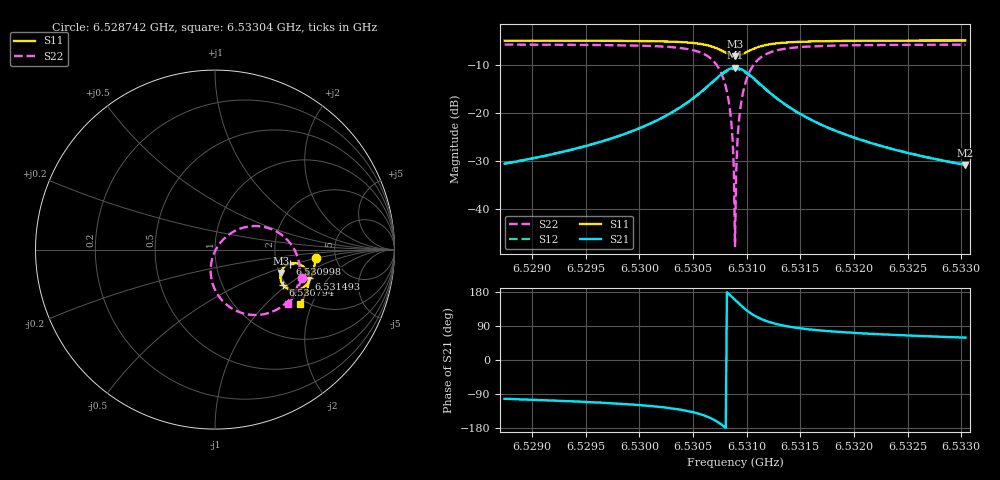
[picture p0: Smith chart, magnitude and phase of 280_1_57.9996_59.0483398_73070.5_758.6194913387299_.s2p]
#  HZ  S  RI  R  50.00
! Rohde & Schwarz Vector Network Analyzer
! Rohde-Schwarz,ZNB20-2Port,1311601062101988,3.16
! Created: UTC 3/21/2024, 1:02:50 AM
! freq[Hz]  re:S11  im:S11  re:S21  im:S21  re:S12  im:S12  re:S22  im:S22
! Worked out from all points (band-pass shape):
!   401 points, 6.528742 GHz to 6.53304 GHz, reference 50 ohm
!   highest |S21| = -10.64 dB at 6.530891 GHz (marker M1); lowest = -30.8 dB at 6.53304 GHz (marker M2)
!   |S21| within 3 dB of the highest: 6.530676 GHz to 6.531106 GHz (430.1 kHz wide, 0.00659 % of centre)
!   lowest |S11| = -8.2 dB at 6.530891 GHz (marker M3), VSWR 2.27, Z = 102 - j31 ohm
!   |S11| at or under -10 dB: nowhere
!   |S22| runs from -47.6 to -5.8 dB; largest |S21 - S12| = 0.011
!   S11 on the Smith chart (normalised r, x): 6.528742 GHz: 3.50, -0.46; 6.530794 GHz: 1.93, -0.92; 6.530998 GHz: 2.38, -0.45; 6.531493 GHz: 2.76, -1.27; 6.53304 GHz: 1.86, -1.65
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6.5287423e9  0.5602 -0.0454  -0.00634 -0.0291  -0.00701 -0.029  0.4856 -0.1583
6.5294621e9  0.5511 -0.1049  -0.0152 -0.0414  -0.0163 -0.0412  0.4559 -0.223
6.5301819e9  0.5245 -0.1753  -0.0474 -0.0715  -0.0494 -0.0701  0.3776 -0.3128
6.5306116e9  0.4562 -0.2258  -0.1508 -0.0969  -0.1529 -0.091  0.1794 -0.3605
6.530719e9  0.4128 -0.2218  -0.2177 -0.072  -0.2171 -0.063  0.0663 -0.3083
6.5307942e9  0.3789 -0.196  -0.2672 -0.016  -0.262 -0.00659  -0.00779 -0.2061
6.5308265e9  0.3684 -0.1767  -0.2804 0.021  -0.2728 0.0293  -0.0232 -0.1425
6.5308479e9  0.3646 -0.1617  -0.2836 0.0488  -0.2749 0.0561  -0.0236 -0.096
6.5308587e9  0.364 -0.1538  -0.2834 0.0635  -0.274 0.0697  -0.0204 -0.0722
6.5308694e9  0.3638 -0.1456  -0.2815 0.0782  -0.2718 0.0836  -0.015 -0.0485
6.5308802e9  0.3649 -0.1375  -0.2784 0.0926  -0.2682 0.0973  -0.00704 -0.0253
6.5308909e9  0.3667 -0.1295  -0.2736 0.107  -0.2633 0.1106  0.00296 -0.00293
6.5309124e9  0.3731 -0.1142  -0.2601 0.1335  -0.2499 0.1354  0.0298 0.0381
6.5309231e9  0.3773 -0.1074  -0.2514 0.1458  -0.2416 0.1467  0.0458 0.0563
6.5309446e9  0.3878 -0.0955  -0.2316 0.1669  -0.2223 0.1662  0.082 0.087
6.5309983e9  0.4192 -0.0776  -0.1738 0.1976  -0.1672 0.1949  0.1824 0.1276
6.5310628e9  0.4553 -0.0764  -0.1105 0.2018  -0.1067 0.1988  0.2886 0.1225
6.5311595e9  0.4912 -0.0943  -0.0486 0.1773  -0.0466 0.1755  0.3891 0.0677
6.5314925e9  0.5219 -0.161  0.0105 0.0981  0.0116 0.0977  0.4713 -0.0969
6.5316107e9  0.5218 -0.178  0.0143 0.0826  0.0157 0.0823  0.4723 -0.1314
6.5323305e9  0.5028 -0.2501  0.0169 0.0395  0.0177 0.0393  0.444 -0.2453
6.5330396e9  0.4759 -0.3027  0.0149 0.0247  0.0153 0.0245  0.4088 -0.3055
